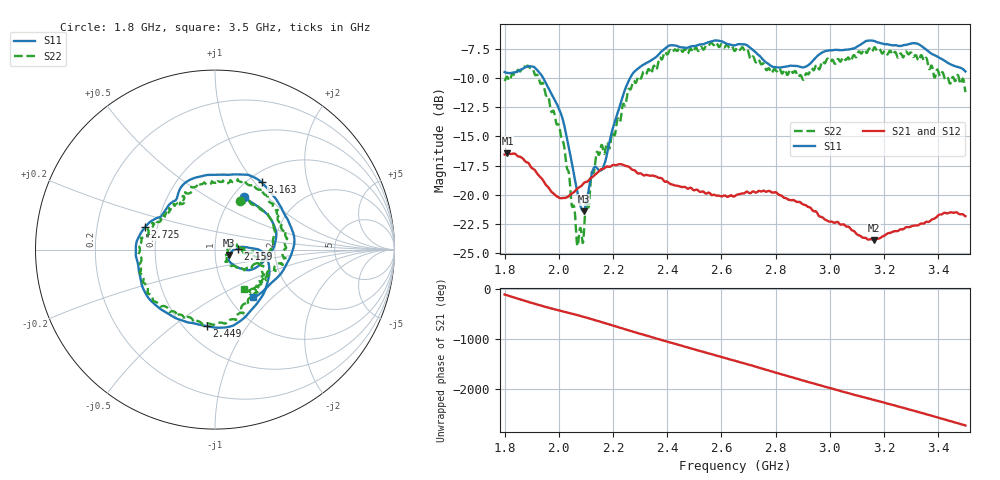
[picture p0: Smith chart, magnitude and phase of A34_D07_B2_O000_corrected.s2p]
! Created with skrf 1.9.0 (http://scikit-rf.org).
# Hz S RI R 50.0
!freq ReS11 ImS11 ReS21 ImS21 ReS12 ImS12 ReS22 ImS22
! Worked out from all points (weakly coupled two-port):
!   1601 points, 1.8 GHz to 3.5 GHz, reference 50 ohm
!   highest |S21| = -16.44 dB at 1.811 GHz (marker M1); lowest = -23.9 dB at 3.162 GHz (marker M2)
!   lowest |S11| = -21.4 dB at 2.091 GHz (marker M3), VSWR 1.19, Z = 58.5 - j3.51 ohm
!   |S11| at or under -10 dB: 1.943 GHz to 2.263 GHz (320.1 MHz wide, 15.2 % of centre)
!   |S22| runs from -24.4 to -6.9 dB; largest |S21 - S12| = 0.0028
!   S11 on the Smith chart (normalised r, x): 1.8 GHz: 1.13, +0.75; 2.159 GHz: 1.29, +0.02; 2.449 GHz: 0.64, -0.67; 2.725 GHz: 0.43, +0.13; 3.163 GHz: 1.15, +1.09; 3.5 GHz: 1.28, -0.76
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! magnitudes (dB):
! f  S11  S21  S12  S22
! 1.8 GHz  -9.5  -16.6  -16.6  -10.3
! 1.811 GHz  -9.6  -16.4  -16.4  -9.9
! 1.884 GHz  -9.0  -17.2  -17.3  -8.9
! 1.941 GHz  -9.9  -18.7  -18.7  -10.4
! 2.013 GHz  -13.4  -20.3  -20.3  -15.4
! 2.067 GHz  -19.6  -19.5  -19.5  -24.2
! 2.084 GHz  -21.2  -19.2  -19.2  -23.3
! 2.091 GHz  -21.4  -19.0  -19.1  -23.7
! 2.127 GHz  -17.8  -18.4  -18.4  -18.1
! 2.159 GHz  -17.9  -17.8  -17.7  -15.7
! 2.189 GHz  -15.3  -17.6  -17.6  -15.9
! 2.26 GHz  -10.1  -17.6  -17.6  -10.9
! 2.367 GHz  -8.0  -18.5  -18.5  -8.6
! 2.449 GHz  -7.4  -19.3  -19.3  -7.5
! 2.65 GHz  -7.2  -20.1  -20.1  -7.7
! 2.725 GHz  -7.8  -19.8  -19.8  -8.6
! 2.796 GHz  -9.1  -19.8  -19.8  -9.2
! 2.934 GHz  -8.6  -21.3  -21.2  -9.2
! 3.162 GHz  -6.8  -23.9  -23.8  -7.4
! 3.163 GHz  -6.8  -23.9  -23.8  -7.4
! 3.217 GHz  -7.1  -23.3  -23.2  -7.8
! 3.5 GHz  -9.4  -21.8  -21.8  -11.2
